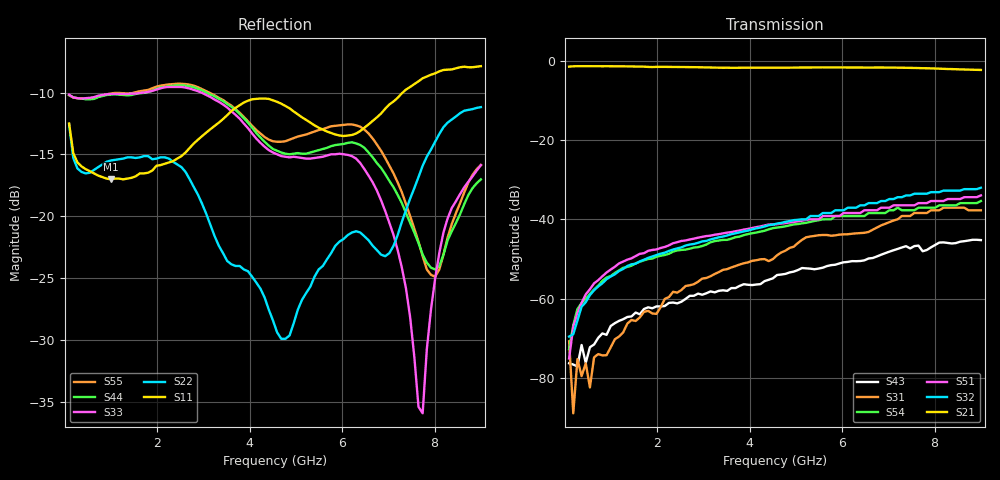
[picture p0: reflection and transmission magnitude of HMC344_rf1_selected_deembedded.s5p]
!Hittite Microwave Corporation
!12 Elizabeth Drive
!Chelmsford, MA 01824
!Tel: 978-250-3343
!Fax: 978-250-3373
!Device: HMC344, DC-8 GHz GaAs MMIC SP4T Non-Reflective Switch Die
!Misc: Room Temp Vctl=-5V Port1=RFC, Port2=RF1, Port3=RF2, Port4=RF3, Port5=RF4, RF1 ON.
# MHZ S MA R 50
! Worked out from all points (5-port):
!   100 points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, 99.9 MHz to 9 GHz, reference 50 ohm
!   strongest paths, dB at 99.9 MHz, 2.347 GHz, 4.595 GHz, 6.842 GHz, 9 GHz:
!     S21: -1.5, -1.6, -1.8, -1.7, -2.4
!     S32: -69.5, -47.6, -41.1, -35.4, -32.0
!     S51: -75.1, -46.0, -41.2, -37.1, -34.0
!     S54: -72.7, -48.1, -42.1, -38.4, -35.4
!     S31: -70.7, -58.3, -49.1, -41.5, -37.7
!     S43: -76.3, -61.0, -54.0, -48.9, -45.2
!   lowest |S11| = -17.0 dB at 998.9 MHz (marker M1), VSWR 1.33, Z = 58.5 - j12.9 ohm
!   |S11| at or under -10 dB: start of sweep to 7.31 GHz
